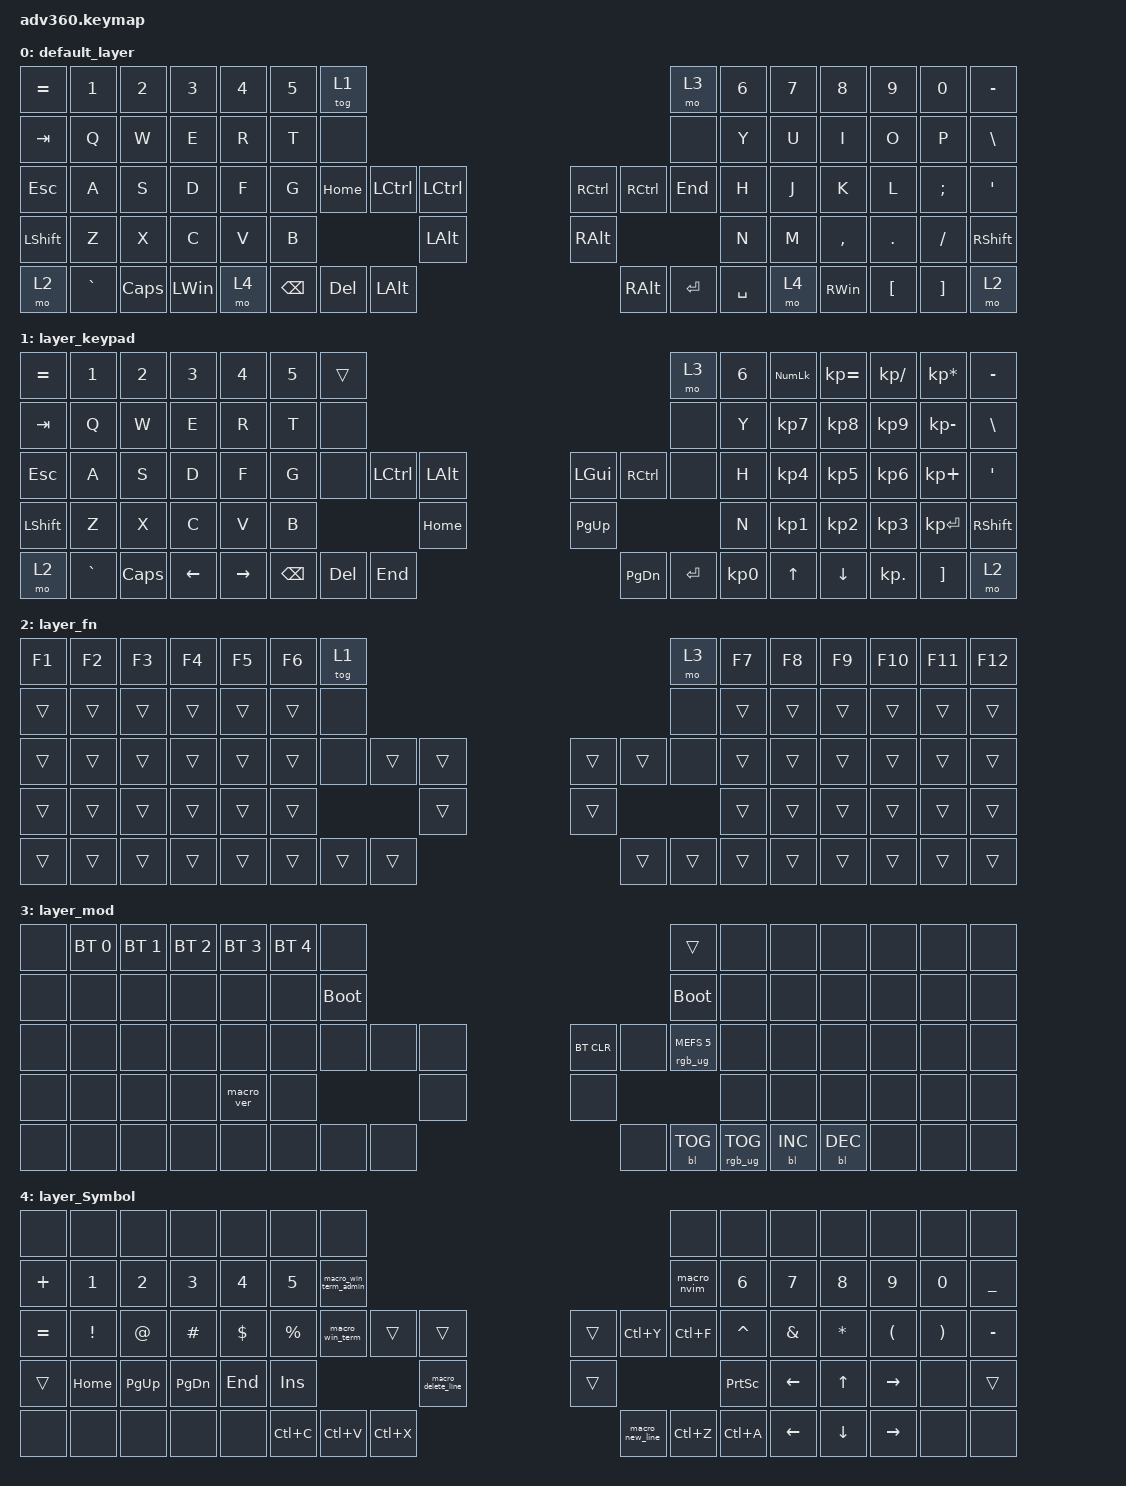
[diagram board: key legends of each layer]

/*
 * Copyright (c) 2020 The ZMK Contributors
 *
 * SPDX-License-Identifier: MIT
 */


/* THIS FILE WAS GENERATED!
 *
 * This file was generated automatically. You may or may not want to
 * edit it directly.
 */

#include <behaviors.dtsi>
#include <dt-bindings/zmk/keys.h>
#include <dt-bindings/zmk/bt.h>
#include <dt-bindings/zmk/rgb.h>
#include <dt-bindings/zmk/backlight.h>

/ {
  behaviors {
    #include "macros.dtsi"
    #include "version.dtsi"

    hm: homerow_mods {
        compatible = "zmk,behavior-hold-tap";
        label = "HOMEROW_MODS";
        #binding-cells = <2>;
        tapping-term-ms = <200>;
        quick_tap_ms = <175>;
        flavor = "tap-preferred";
        bindings = <&kp>, <&kp>;
    };
  };

    keymap {
        compatible = "zmk,keymap";


        default_layer {
            bindings = <
 &kp EQUAL     &kp N1    &kp N2        &kp N3  &kp N4  &kp N5              &tog 1                                                                     &mo 3  &kp N6  &kp N7         &kp N8    &kp N9    &kp N0  &kp MINUS
   &kp TAB      &kp Q     &kp W         &kp E   &kp R   &kp T               &none                                                                     &none   &kp Y   &kp U          &kp I     &kp O     &kp P   &kp BSLH
   &kp ESC      &kp A     &kp S         &kp D   &kp F   &kp G            &kp HOME  &kp LCTRL     &kp LCTRL                  &kp RCTRL  &kp RCTRL    &kp END   &kp H   &kp J          &kp K     &kp L  &kp SEMI    &kp SQT
 &kp LSHFT      &kp Z     &kp X         &kp C   &kp V   &kp B                                 &kp LEFT_ALT                   &kp RALT                         &kp N   &kp M      &kp COMMA   &kp DOT  &kp FSLH  &kp RSHFT
     &mo 2  &kp GRAVE  &kp CAPS  &kp LEFT_WIN   &mo 4                    &kp BSPC    &kp DEL      &kp LALT                   &kp RALT  &kp ENTER  &kp SPACE           &mo 4  &kp RIGHT_WIN  &kp LBKT  &kp RBKT      &mo 2
            >;
        };

        layer_keypad {
            bindings = <
 &kp EQUAL     &kp N1    &kp N2    &kp N3     &kp N4  &kp N5              &trans                                                                 &mo 3  &kp N6  &kp KP_NUM  &kp KP_EQUAL  &kp KP_DIVIDE  &kp KP_MULTIPLY  &kp MINUS
   &kp TAB      &kp Q     &kp W     &kp E      &kp R   &kp T               &none                                                                 &none   &kp Y   &kp KP_N7     &kp KP_N8      &kp KP_N9     &kp KP_MINUS   &kp BSLH
   &kp ESC      &kp A     &kp S     &kp D      &kp F   &kp G               &none  &kp LCTRL  &kp LALT                   &kp LGUI  &kp RCTRL      &none   &kp H   &kp KP_N4     &kp KP_N5      &kp KP_N6      &kp KP_PLUS    &kp SQT
 &kp LSHFT      &kp Z     &kp X     &kp C      &kp V   &kp B                                 &kp HOME                  &kp PG_UP                         &kp N   &kp KP_N1     &kp KP_N2      &kp KP_N3     &kp KP_ENTER  &kp RSHFT
     &mo 2  &kp GRAVE  &kp CAPS  &kp LEFT  &kp RIGHT                    &kp BSPC    &kp DEL   &kp END                  &kp PG_DN  &kp ENTER  &kp KP_N0              &kp UP      &kp DOWN     &kp KP_DOT         &kp RBKT      &mo 2
            >;
        };

        layer_fn {
            bindings = <
 &kp F1  &kp F2  &kp F3  &kp F4  &kp F5  &kp F6            &tog 1                                                   &mo 3  &kp F7  &kp F8  &kp F9  &kp F10  &kp F11  &kp F12
 &trans  &trans  &trans  &trans  &trans  &trans             &none                                                   &none  &trans  &trans  &trans   &trans   &trans   &trans
 &trans  &trans  &trans  &trans  &trans  &trans             &none  &trans  &trans                  &trans  &trans   &none  &trans  &trans  &trans   &trans   &trans   &trans
 &trans  &trans  &trans  &trans  &trans  &trans                            &trans                  &trans                  &trans  &trans  &trans   &trans   &trans   &trans
 &trans  &trans  &trans  &trans  &trans                    &trans  &trans  &trans                  &trans  &trans  &trans          &trans  &trans   &trans   &trans   &trans
            >;
        };

        layer_mod {
            bindings = <
  &none  &bt BT_SEL 0  &bt BT_SEL 1  &bt BT_SEL 2  &bt BT_SEL 3  &bt BT_SEL 4                  &none                                                                          &trans   &none       &none       &none   &none   &none   &none
  &none         &none         &none         &none         &none         &none            &bootloader                                                                     &bootloader   &none       &none       &none   &none   &none   &none
  &none         &none         &none         &none         &none         &none                  &none   &none   &none                  &bt BT_CLR       &none  &rgb_ug RGB_MEFS_CMD 5   &none       &none       &none   &none   &none   &none
  &none         &none         &none         &none    &macro_ver         &none                                  &none                       &none                                       &none       &none       &none   &none   &none   &none
  &none         &none         &none         &none         &none                                &none   &none   &none                       &none  &bl BL_TOG         &rgb_ug RGB_TOG          &bl BL_INC  &bl BL_DEC   &none   &none   &none
            >;
        };

        layer_Symbol {
            bindings = <
     &none     &none        &none          &none       &none        &none                            &none                                                                                   &none            &none           &none           &none                 &none                  &none           &none
  &kp PLUS    &kp N1       &kp N2         &kp N3      &kp N4       &kp N5            &macro_win_term_admin                                                                             &macro_nvim           &kp N6          &kp N7          &kp N8                &kp N9                 &kp N0  &kp UNDERSCORE
 &kp EQUAL  &kp EXCL  &kp AT_SIGN       &kp HASH  &kp DOLLAR  &kp PERCENT                  &macro_win_term     &trans              &trans                           &trans  &kp LC(Y)    &kp LC(F)        &kp CARET        &kp AMPS    &kp ASTERISK  &kp LEFT_PARENTHESIS  &kp RIGHT_PARENTHESIS       &kp MINUS
    &trans  &kp HOME    &kp PG_UP  &kp PAGE_DOWN     &kp END      &kp INS                                              &macro_delete_line                           &trans                          &kp PRINTSCREEN  &kp LEFT_ARROW    &kp UP_ARROW       &kp RIGHT_ARROW                  &none          &trans
     &none     &none        &none          &none       &none                                     &kp LC(C)  &kp LC(V)           &kp LC(X)                  &macro_new_line  &kp LC(Z)    &kp LC(A)                   &kp LEFT_ARROW  &kp DOWN_ARROW       &kp RIGHT_ARROW                  &none           &none
            >;
        };

    };
};
